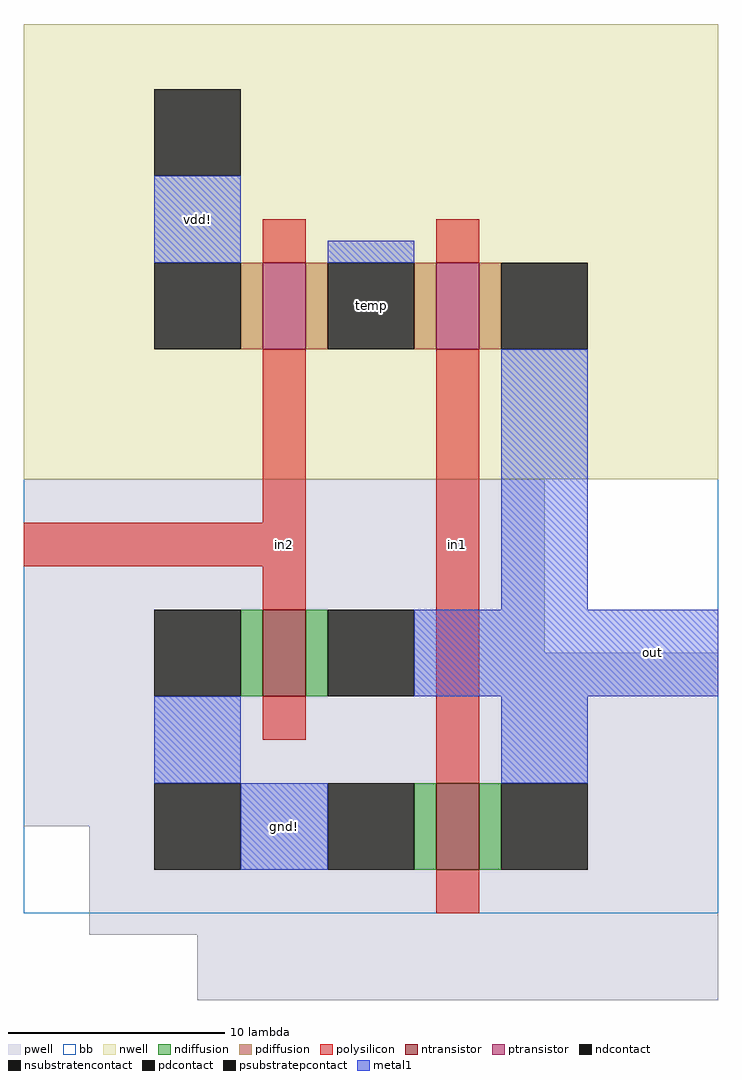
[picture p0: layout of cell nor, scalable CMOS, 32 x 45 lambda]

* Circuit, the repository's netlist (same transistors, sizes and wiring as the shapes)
* SPICE3 file created from nor.ext - technology: scmos

.option scale=0.1u

M1000 out in1 gnd gnd nfet w=4 l=2
+  ad=40 pd=36 as=40 ps=36
M1001 temp in2 vdd vdd pfet w=4 l=2
+  ad=24 pd=20 as=20 ps=18
M1002 out in1 temp vdd pfet w=4 l=2
+  ad=20 pd=18 as=0 ps=0
M1003 out in2 gnd gnd nfet w=4 l=2
+  ad=0 pd=0 as=0 ps=0

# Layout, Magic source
magic
tech scmos
<< nwell >>
rect -13 -6 19 15
<< pwell >>
rect -13 -14 11 -6
rect -13 -22 19 -14
rect -10 -27 19 -22
rect -5 -30 19 -27
<< ntransistor >>
rect -2 -16 0 -12
rect 6 -24 8 -20
<< ptransistor >>
rect -2 0 0 4
rect 6 0 8 4
<< ndiffusion >>
rect -3 -16 -2 -12
rect 0 -16 1 -12
rect 5 -24 6 -20
rect 8 -24 9 -20
<< pdiffusion >>
rect -3 0 -2 4
rect 0 0 1 4
rect 5 0 6 4
rect 8 0 9 4
<< ndcontact >>
rect -7 -16 -3 -12
rect 1 -16 5 -12
rect 1 -24 5 -20
rect 9 -24 13 -20
<< pdcontact >>
rect -7 0 -3 4
rect 1 0 5 4
rect 9 0 13 4
<< psubstratepcontact >>
rect -7 -24 -3 -20
<< nsubstratencontact >>
rect -7 8 -3 12
<< polysilicon >>
rect -2 4 0 6
rect 6 4 8 6
rect -2 -8 0 0
rect -13 -10 0 -8
rect -2 -12 0 -10
rect -2 -18 0 -16
rect 6 -20 8 0
rect 6 -26 8 -24
<< metal1 >>
rect -7 4 -3 8
rect 1 4 5 5
rect 9 -12 13 0
rect 5 -16 19 -12
rect -7 -20 -3 -16
rect 9 -20 13 -16
rect -3 -24 1 -20
<< bb >>
rect -13 -26 19 15
<< labels >>
rlabel polysilicon -1 -9 -1 -9 4 in2
rlabel polysilicon 7 -9 7 -9 4 in1
rlabel metal1 16 -14 16 -14 4 out
rlabel pdcontact 3 2 3 2 4 temp
rlabel metal1 -5 6 -5 6 1 vdd!
rlabel metal1 -1 -22 -1 -22 1 gnd!
<< end >>
